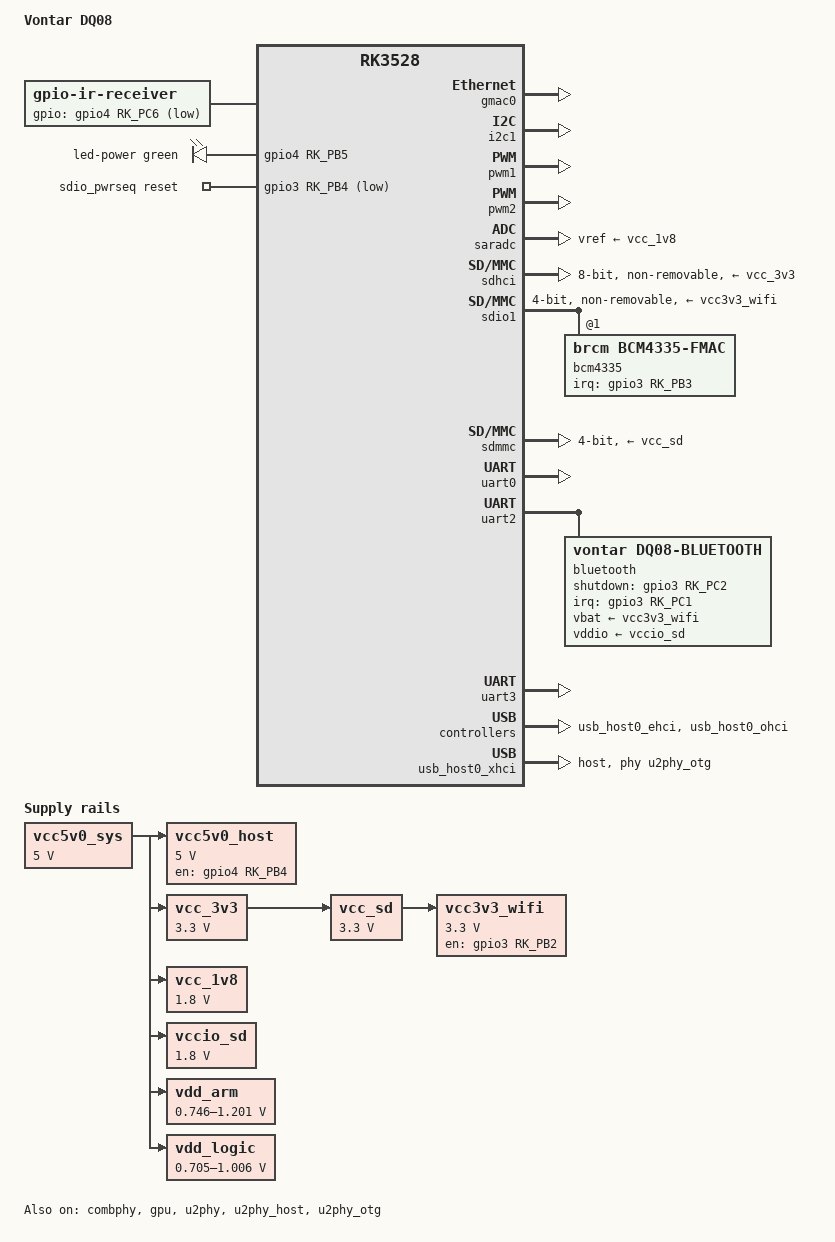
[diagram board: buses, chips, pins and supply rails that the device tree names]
// SPDX-License-Identifier: (GPL-2.0+ OR MIT)

/dts-v1/;

#include <dt-bindings/leds/common.h>
#include <dt-bindings/phy/phy.h>
#include <dt-bindings/pwm/pwm.h>
#include "rk3528.dtsi"

/ {
	model = "Vontar DQ08";
	compatible = "vontar,dq08", "rockchip,rk3528";

	aliases {
		ethernet0 = &gmac0;
		i2c1 = &i2c1;
		serial0 = &uart0;
	};

	chosen {
		stdout-path = "serial0:1500000n8";
	};

	ir-receiver {
		compatible = "gpio-ir-receiver";
		gpios = <&gpio4 RK_PC6 GPIO_ACTIVE_LOW>;
		pinctrl-names = "default";
		pinctrl-0 = <&ir_receiver_pin>;
	};

	leds {
		compatible = "gpio-leds";
		pinctrl-names = "default";
		pinctrl-0 = <&power_led_h>;

		led-power {
			color = <LED_COLOR_ID_GREEN>;
			default-state = "on";
			function = LED_FUNCTION_POWER;
			gpios = <&gpio4 RK_PB5 GPIO_ACTIVE_HIGH>;
			linux,default-trigger = "default-on";
			retain-state-suspended;
		};
	};

	sdio_pwrseq: sdio-pwrseq {
		compatible = "mmc-pwrseq-simple";
		pinctrl-names = "default";
		pinctrl-0 = <&wifi_reset_l>, <&clkm0_32k_out>;
		post-power-on-delay-ms = <200>;
		reset-gpios = <&gpio3 RK_PB4 GPIO_ACTIVE_LOW>;
	};

	vcc5v0_sys: regulator-vcc5v0-sys {
		compatible = "regulator-fixed";
		regulator-name = "vcc5v0_sys";
		regulator-always-on;
		regulator-boot-on;
		regulator-min-microvolt = <5000000>;
		regulator-max-microvolt = <5000000>;
	};

	vcc5v0_host: regulator-vcc5v0-host {
		compatible = "regulator-fixed";
		enable-active-high;
		gpios = <&gpio4 RK_PB4 GPIO_ACTIVE_HIGH>;
		pinctrl-names = "default";
		pinctrl-0 = <&usb_host_5v_en_h>;
		regulator-name = "vcc5v0_host";
		regulator-always-on;
		regulator-boot-on;
		regulator-min-microvolt = <5000000>;
		regulator-max-microvolt = <5000000>;
		vin-supply = <&vcc5v0_sys>;
	};

	vcc_3v3: regulator-vcc-3v3 {
		compatible = "regulator-fixed";
		regulator-name = "vcc_3v3";
		regulator-always-on;
		regulator-boot-on;
		regulator-min-microvolt = <3300000>;
		regulator-max-microvolt = <3300000>;
		vin-supply = <&vcc5v0_sys>;
	};

	vcc_1v8: regulator-vcc-1v8 {
		compatible = "regulator-fixed";
		regulator-name = "vcc_1v8";
		regulator-always-on;
		regulator-boot-on;
		regulator-min-microvolt = <1800000>;
		regulator-max-microvolt = <1800000>;
		vin-supply = <&vcc5v0_sys>;
	};

	vcc_sd: regulator-vcc-sd {
		compatible = "regulator-fixed";
		regulator-name = "vcc_sd";
		regulator-always-on;
		regulator-boot-on;
		regulator-min-microvolt = <3300000>;
		regulator-max-microvolt = <3300000>;
		vin-supply = <&vcc_3v3>;
	};

	vccio_sd: regulator-vccio-sd {
		compatible = "regulator-fixed";
		regulator-name = "vccio_sd";
		regulator-always-on;
		regulator-boot-on;
		regulator-min-microvolt = <1800000>;
		regulator-max-microvolt = <1800000>;
		vin-supply = <&vcc5v0_sys>;
	};

	vcc3v3_wifi: regulator-vcc3v3-wifi {
		compatible = "regulator-fixed";
		enable-active-high;
		gpios = <&gpio3 RK_PB2 GPIO_ACTIVE_HIGH>;
		pinctrl-names = "default";
		pinctrl-0 = <&wifi_power_en_h>;
		regulator-name = "vcc3v3_wifi";
		regulator-boot-on;
		regulator-min-microvolt = <3300000>;
		regulator-max-microvolt = <3300000>;
		vin-supply = <&vcc_sd>;
	};

	vdd_arm: regulator-vdd-arm {
		compatible = "pwm-regulator";
		pwms = <&pwm1 0 5000 PWM_POLARITY_INVERTED>;
		pwm-supply = <&vcc5v0_sys>;
		regulator-name = "vdd_arm";
		regulator-always-on;
		regulator-boot-on;
		regulator-min-microvolt = <746000>;
		regulator-max-microvolt = <1201000>;
		regulator-settling-time-up-us = <250>;
	};

	vdd_logic: regulator-vdd-logic {
		compatible = "pwm-regulator";
		pwms = <&pwm2 0 5000 PWM_POLARITY_INVERTED>;
		pwm-supply = <&vcc5v0_sys>;
		regulator-name = "vdd_logic";
		regulator-always-on;
		regulator-boot-on;
		regulator-min-microvolt = <705000>;
		regulator-max-microvolt = <1006000>;
		regulator-settling-time-up-us = <250>;
	};
};

&combphy {
	status = "okay";
};

&cpu0 {
	cpu-supply = <&vdd_arm>;
};

&cpu1 {
	cpu-supply = <&vdd_arm>;
};

&cpu2 {
	cpu-supply = <&vdd_arm>;
};

&cpu3 {
	cpu-supply = <&vdd_arm>;
};

&gmac0 {
	clock_in_out = "input";
	status = "okay";
};

&gpu {
	mali-supply = <&vdd_logic>;
	sram-supply = <&vdd_logic>;
	status = "okay";
};

&i2c1 {
	/*
	 * GPIO4's IOC registers are gated by RK3528_PD_RKVENC.  The driver
	 * core applies the default pinctrl state before the device's power
	 * domain is active, which can cause a synchronous external abort.
	 * Defer the real mux until pinctrl_init_done(), after probe.
	 */
	pinctrl-names = "default", "init";
	pinctrl-0 = <&i2c1m0_xfer>;
	pinctrl-1 = <>;
	status = "okay";
};

&pinctrl {
	bt_host_wake_input: pcfg-bt-host-wake-input {
		input-enable;
		bias-pull-down;
	};

	bluetooth {
		bt_enable_h: bt-enable-h {
			rockchip,pins = <3 RK_PC2 RK_FUNC_GPIO &pcfg_pull_none>;
		};

		bt_host_wake_h: bt-host-wake-h {
			rockchip,pins = <3 RK_PC1 RK_FUNC_GPIO &bt_host_wake_input>;
		};

		bt_host_wake_boot_h: bt-host-wake-boot-h {
			rockchip,pins = <3 RK_PC1 RK_FUNC_GPIO &pcfg_output_high>;
		};
	};

	ir-receiver {
		ir_receiver_pin: ir-receiver-pin {
			rockchip,pins = <4 RK_PC6 RK_FUNC_GPIO &pcfg_pull_none>;
		};
	};

	leds {
		power_led_h: power-led-h {
			rockchip,pins = <4 RK_PB5 RK_FUNC_GPIO &pcfg_pull_none>;
		};
	};

	usb {
		usb_host_5v_en_h: usb-host-5v-en-h {
			rockchip,pins = <4 RK_PB4 RK_FUNC_GPIO &pcfg_pull_none>;
		};
	};

	wifi {
		wifi_host_wake_h: wifi-host-wake-h {
			rockchip,pins = <3 RK_PB3 RK_FUNC_GPIO &pcfg_pull_down>;
		};

		wifi_power_en_h: wifi-power-en-h {
			rockchip,pins = <3 RK_PB2 RK_FUNC_GPIO &pcfg_pull_none>;
		};

		wifi_reset_l: wifi-reset-l {
			rockchip,pins = <3 RK_PB4 RK_FUNC_GPIO &pcfg_pull_none>;
		};
	};
};

&pwm1 {
	pinctrl-names = "default";
	pinctrl-0 = <&pwm1m0_pins>;
	status = "okay";
};

&pwm2 {
	pinctrl-names = "default";
	pinctrl-0 = <&pwm2m0_pins>;
	status = "okay";
};

&rmii0_phy {
	/delete-property/ pinctrl-names;
	/delete-property/ pinctrl-0;
};

&saradc {
	vref-supply = <&vcc_1v8>;
	status = "okay";
};

&sdhci {
	bus-width = <8>;
	cap-mmc-highspeed;
	mmc-ddr-1_8v;
	mmc-hs200-1_8v;
	no-sd;
	no-sdio;
	non-removable;
	vmmc-supply = <&vcc_3v3>;
	vqmmc-supply = <&vcc_1v8>;
	status = "okay";
};

&sdio1 {
	#address-cells = <1>;
	#size-cells = <0>;
	bus-width = <4>;
	cap-sd-highspeed;
	cap-sdio-irq;
	keep-power-in-suspend;
	mmc-pwrseq = <&sdio_pwrseq>;
	no-mmc;
	no-sd;
	non-removable;
	pinctrl-names = "default";
	pinctrl-0 = <&sdio1_bus4>, <&sdio1_cmd>, <&sdio1_clk>;
	sd-uhs-ddr50;
	sd-uhs-sdr12;
	sd-uhs-sdr25;
	sd-uhs-sdr50;
	sd-uhs-sdr104;
	vmmc-supply = <&vcc3v3_wifi>;
	vqmmc-supply = <&vccio_sd>;
	wakeup-source;
	status = "okay";

	bcm4335: wifi@1 {
		compatible = "brcm,bcm4335-fmac", "brcm,bcm4329-fmac";
		reg = <1>;
		interrupt-parent = <&gpio3>;
		interrupts = <RK_PB3 IRQ_TYPE_LEVEL_HIGH>;
		interrupt-names = "host-wake";
		pinctrl-names = "default";
		pinctrl-0 = <&wifi_host_wake_h>;
		wakeup-source;
	};
};

&sdmmc {
	bus-width = <4>;
	cap-mmc-highspeed;
	cap-sd-highspeed;
	disable-wp;
	no-mmc;
	no-sdio;
	vmmc-supply = <&vcc_sd>;
	status = "okay";
};

&uart0 {
	pinctrl-names = "default";
	pinctrl-0 = <&uart0m0_xfer>;
	status = "okay";
};

&uart2 {
	/*
	 * Linux 6.18 carries the corrected RK3528 UART2 DMA request order:
	 * TX channel 13 followed by RX channel 12.  Name both inherited
	 * channels as required by the binding.  This matches the upstream
	 * ArmSoM Sige1 configuration which fixed the same Broadcom HCI Reset
	 * timeout on RK3528.
	 */
	dma-names = "tx", "rx";
	pinctrl-names = "default";
	pinctrl-0 = <&uart2m0_xfer>, <&uart2m0_ctsn>, <&uart2m0_rtsn>;
	uart-has-rtscts;
	status = "okay";

	bluetooth {
		/*
		 * Read Local Version identifies the controller as BCM4335A0.
		 * Keep the DQ08 compatible first for its PC1/PC2 bootstrap
		 * quirk and retain the silicon compatible as a fallback.
		 * No max-speed property means HCI starts at 115200 bit/s.
		 */
		compatible = "vontar,dq08-bluetooth", "brcm,bcm4335a0";
		brcm,dq08-startup-sequence;
		clocks = <&cru CLK_DEEPSLOW>;
		clock-names = "lpo";
		interrupt-parent = <&gpio3>;
		interrupts = <RK_PC1 IRQ_TYPE_EDGE_RISING>;
		interrupt-names = "host-wakeup";
		pinctrl-names = "default", "host-wake-high";
		pinctrl-0 = <&bt_enable_h>, <&bt_host_wake_h>;
		pinctrl-1 = <&bt_enable_h>, <&bt_host_wake_boot_h>;
		shutdown-gpios = <&gpio3 RK_PC2 GPIO_ACTIVE_HIGH>;
		vbat-supply = <&vcc3v3_wifi>;
		vddio-supply = <&vccio_sd>;
	};
};

&uart3 {
	pinctrl-names = "default";
	pinctrl-0 = <&uart3m1_xfer>;
	status = "okay";
};

&u2phy {
	status = "okay";
};

&u2phy_host {
	phy-supply = <&vcc5v0_host>;
	status = "okay";
};

&u2phy_otg {
	phy-supply = <&vcc5v0_host>;
	status = "okay";
};

&usb_host0_ehci {
	status = "okay";
};

&usb_host0_ohci {
	status = "okay";
};

&usb_host0_xhci {
	dr_mode = "host";
	phys = <&u2phy_otg>, <&combphy PHY_TYPE_USB3>;
	phy-names = "usb2-phy", "usb3-phy";
	status = "okay";
};
